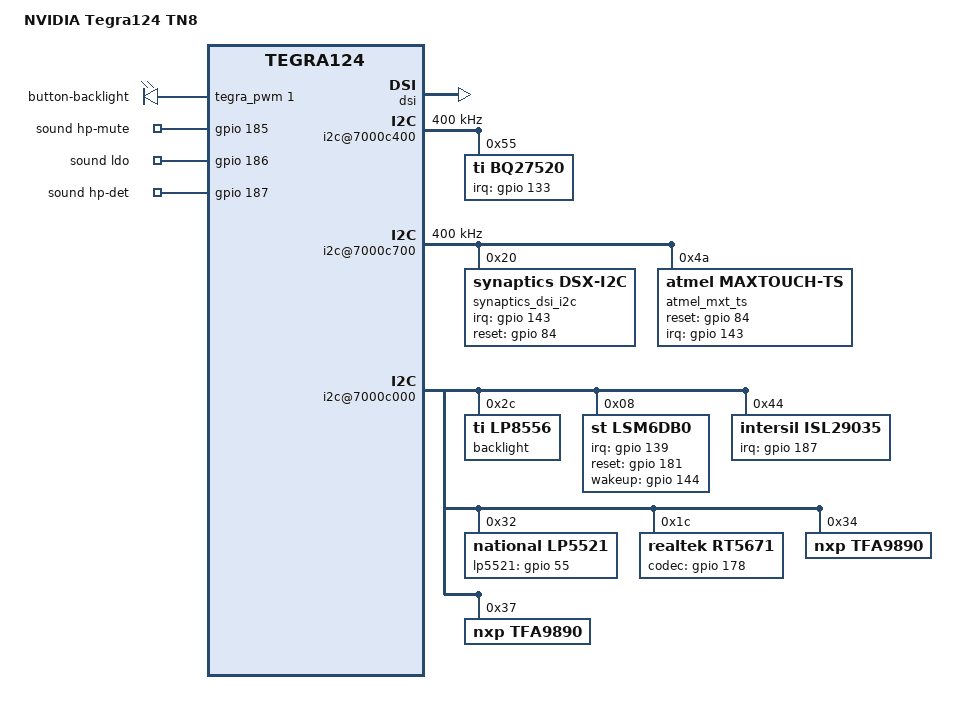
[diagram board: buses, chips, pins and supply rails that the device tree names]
/dts-v1/;

#include "tegra124-tn8.dtsi"
#include "tegra124-platforms/tegra124-tn8-emc-e1922-1100-a00.dtsi"
#include "tegra124-platforms/tegra124-tn8-pmic-e1736-1000-a00.dtsi"
#include "tegra124-platforms/tegra124-tn8-fixed-e1736-1000-a00.dtsi"

/* this is static dtsi files */
#include "tegra124-platforms/tegra124-mocha-gpio-e1780.dtsi"
#include "tegra124-platforms/tegra124-mocha-keys-e1780.dtsi"
#include "tegra124-platforms/tegra124-mocha-pinmux-e1780.dtsi"
/* end of static dtsi files */

#include "tegra124-platforms/tegra124-mocha-sysedp.dtsi"
/* 旧 nvc 相机 profile（camera-pcl），仅供 NVIDIA 旧框架参考，
 * 不会创建 I2C 设备；保留以免其它代码引用其符号。 */
#include "tegra124-platforms/tegra124-mocha-camera.dtsi"
/*
 * 【相机修复 2026-11-16】必须引入 mocha-camera-mc.dtsi：
 * 它在 i2c@7000c500（CAM I2C，adapter 2）上定义了真正的传感器设备节点
 *   imx179@10（"sony,imx179"，CSI-A 4-lane）、ov5693@36（"ovt,ov5693"）、
 *   ad5823@0c（"adi,ad5823"）以及 vi@54080000/csi@54080000 的 media 端点。
 * 之前没有 include 它 → i2c-2 上没有任何设备 → tegra_vi 驱动
 * "Found 0 sensors" → 回落到 TPG（棋盘格测试图案），相机永远出不了画面。
 * 注意：CONFIG_CPUSETS/CONFIG_BLK_CGROUP 才是 2026-11-16 卡米的元凶
 * （两轮实验均死在 init post-fs-data 之前），与本 DT 改动无关。
 */
#include "tegra124-platforms/tegra124-mocha-camera-mc.dtsi"
#include "panel-s-wqxga-7-9-x6.dtsi"

/ {
	model = "NVIDIA Tegra124 TN8";
	compatible = "nvidia,mocha", "nvidia,tegra124";
	nvidia,dtsfilename = __FILE__;
	nvidia,boardids = "1780:1100:3:A:7","1845:1000:0:A:7";
	#address-cells = <2>;
	#size-cells = <2>;

	chosen {
		bootargs = "tegraid=40.0.0.00.00 vmalloc=256M video=tegrafb console=ttyS0,115200n8 earlyprintk";
		linux,initrd-start = <0x85000000>;
		linux,initrd-end = <0x851bc400>;
	};

	firmware {
		android {
			compatible = "android,firmware";
			hardware = "tn8";
		};
	};

	host1x {
		/*
		 * 【相机修复 2026-11-16】soc.dtsi 里这个裸 `vi` 节点
		 * (compatible "nvidia,tegra124-vi") 同样命中 tegra_vi 驱动的
		 * 匹配表。若与 mocha-camera-mc.dtsi 引入的 vi@54080000
		 * (compatible "nvidia,mocha-vi") 同时存在，驱动会被探测两次，
		 * 第二个实例注册 /dev/video0 会冲突。必须禁用裸节点，
		 * 只让带时钟/CSI 端点/num-channels 的 vi@54080000 生效，
		 * 传感器(imx179/ov5693)才能通过 media 框架绑定到通道。
		 * 驱动侧时钟获取带 IS_ERR_OR_NULL 保护，不会探测卡死。
		 */
		vi {
			status = "disabled";
		};
		isp@54600000 { status = "okay"; };
		isp@54680000 { status = "okay"; };

		/* tegradc.0 */
		dc@54200000 {
			status = "okay";
			nvidia,dc-flags = <TEGRA_DC_FLAG_ENABLED>;
			nvidia,emc-clk-rate = <204000000>;
			nvidia,cmu-enable = <0>;
			nvidia,low-v-win = <0x2>;
			nvidia,fb-bpp = <32>; /* bits per pixel */
			nvidia,fb-flags = <TEGRA_FB_FLIP_ON_PROBE>;
		};
		dsi {
			nvidia,dsi-controller-vs = <DSI_VS_1>;
			status = "okay";
		};
	};

	i2c@7000c400 {
		status = "okay";
		clock-frequency = <400000>;

		bq27520@55 {
			compatible = "ti,bq27520";
			reg = <0x55>;

			interrupt-parent = <&gpio>;
			interrupts = <133 0>;
			ti,fw-lgc-name = "0105_lgc.dffs";
			ti,fw-atl-name = "0205_atl.dffs";
		};
	};

	i2c@7000c700 {
		nvidia,clock-always-on;
		clock-frequency = <400000>;

		synaptics_dsi_i2c@20 {
			compatible = "synaptics,dsx-i2c";
			reg = <0x20>;

			synaptics,x-flip = <0>;
			synaptics,y-flip = <0>;
			synaptics,swap-axes = <0>;
			synaptics,irq-gpio = <&gpio 143 0>;
			synaptics,irq-on-state = <0>;
			synaptics,power-on-state = <1>;
			synaptics,reset-gpio = <&gpio 84 0>;
			synaptics,reset-on-state = <0>;
			synaptics,irq-flags = <0x2008>;
			synaptics,fw-name = "synaptics_7040_firmware.fw";
			synaptics,self-test-name = "synaptics_7040_test_data.fw";
			synaptics,panel-x = <1536>;
			synaptics,panel-y = <2048>;
			synaptics,power-delay-ms = <160>;
			synaptics,reset-delay-ms = <100>;
			synaptics,reset-active-ms = <20>;
			synaptics,byte-delay-us = <20>;
			synaptics,block-delay-us = <20>;
			synaptics,regulator-name = "vdd-touch";
			synaptics,cap-button-map = <139 102 158 116>;
		};

		atmel_mxt_ts@4a {
			compatible = "atmel,maxtouch-ts";
			reg = <0x4a>;

			interrupt-parent = <&gpio>;
			interrupts = <143 0x2>;
			atmel,irq-flags = <0x2008>;
			atmel,reset-gpio = <&gpio 84 0>;
			atmel,irq-gpio = <&gpio 143 0>;
			atmel,gpio-mask = <0xc>;
			atmel,vendor-info = <0x03eb>;
			atmel,product-info = <0x214f>;
			atmel,config-array-size = <2>;

			atmel,cfg_1 {
				atmel,family-id = <0xA4>;
				atmel,variant-id = <0x04>;
				atmel,version = <0x10>;
				atmel,build = <0xAA>;
				atmel,bootldr-id = <0x48>;
				atmel,mxt-cfg-name = "mxt1664t_config.fw";
				atmel,vendor-id = <0x4>;
				atmel,mxt-fw-name = "mxt1664t.fw";
				atmel,key-codes = <158 102 139 116>;
			};
			atmel,cfg_2 {
				atmel,family-id = <0xA4>;
				atmel,variant-id = <0x0B>;
				atmel,version = <0x12>;
				atmel,build = <0xAC>;
				atmel,bootldr-id = <0x51>;
				atmel,mxt-cfg-name = "mxt1066t_config.fw";
				atmel,vendor-id = <0x4>;
				atmel,mxt-fw-name = "mxt1066t.fw";
				atmel,key-codes = <139 102 158 116>;
			};
		};
	};

	i2c@7000c000 {
		backlight@2c {
			compatible = "ti,lp8556";
			reg = <0x2c>;

			dev-ctrl = /bits/ 8 <0x83>;
			init-brt = /bits/ 8 <0x1f>;
			led-en   = /bits/ 8 <0x0f>;

			rom_98h {
				rom-addr = /bits/ 8 <0x98>;
				rom-val = /bits/ 8 <0x80>;
			};
			rom_9eh {
				rom-addr = /bits/ 8 <0x9e>;
				rom-val = /bits/ 8 <0x21>;
			};
			rom_a0h {
				rom-addr = /bits/ 8 <0xa0>;
				rom-val = /bits/ 8 <0xff>;
			};
			rom_a1h {
				rom-addr = /bits/ 8 <0xa1>;
				rom-val = /bits/ 8 <0x3f>;
			};
			rom_a2h {
				rom-addr = /bits/ 8 <0xa2>;
				rom-val = /bits/ 8 <0x20>;
			};
			rom_a3h {
				rom-addr = /bits/ 8 <0xa3>;
				rom-val = /bits/ 8 <0x00>;
			};
			rom_a4h {
				rom-addr = /bits/ 8 <0xa4>;
				rom-val = /bits/ 8 <0x72>;
			};
			rom_a5h {
				rom-addr = /bits/ 8 <0xa5>;
				rom-val = /bits/ 8 <0x24>;
			};
			rom_a6h {
				rom-addr = /bits/ 8 <0xa6>;
				rom-val = /bits/ 8 <0x80>;
			};
			rom_a7h {
				rom-addr = /bits/ 8 <0xa7>;
				rom-val = /bits/ 8 <0xf5>;
			};
			rom_a8h {
				rom-addr = /bits/ 8 <0xa8>;
				rom-val = /bits/ 8 <0x24>;
			};
			rom_a9h {
				rom-addr = /bits/ 8 <0xa9>;
				rom-val = /bits/ 8 <0xb2>;
			};
			rom_aah {
				rom-addr = /bits/ 8 <0xaa>;
				rom-val = /bits/ 8 <0x8f>;
			};
			rom_aeh {
				rom-addr = /bits/ 8 <0xae>;
				rom-val = /bits/ 8 <0x0f>;
			};
		};

		lsm6db0@08 {
			compatible = "st,lsm6db0";
			reg = <0x08>;

			st,irq-gpio = <&gpio 139 0x00>;
			st,reset-gpio = <&gpio 181 0x00>;
			st,wakeup-gpio = <&gpio 144 0x00>;
		};

		isl29035@44 {
			compatible = "intersil,isl29035";
			reg = <0x44>;
			interrupt-parent = <&gpio>;
			interrupts = <187 0x08>;

			als_factor = <16>;
			als_highrange = <2>;
			als_lowthres = <0x0e00>;
			als_highthres = <0xf800>;
			als_sensitive = <25>;
		};

		lp5521@32 {
			compatible = "national,lp5521";
			reg = <0x32>;
			lp5521,clock-mode = <0>;
			lp5521,gpio = <&gpio 55 0>;
			lp5521,num-channels = <3>;

			lp5521,config_1 {
				lp5521,name = "red";
				lp5521,chan-nr = <0>;
				lp5521,led-current = <20>;
				lp5521,max-current = <255>;
			};
			lp5521,config_2 {
				lp5521,name = "green";
				lp5521,chan-nr = <1>;
				lp5521,led-current = <20>;
				lp5521,max-current = <255>;
			};
			lp5521,config_3 {
				lp5521,name = "blue";
				lp5521,chan-nr = <2>;
				lp5521,led-current = <20>;
				lp5521,max-current = <255>;
			};
		};

		rt5671@1c {
			compatible = "realtek,rt5671";
			reg = <0x1c>;

	                realtek,jd_mode = <2>;
	                realtek,codec_gpio = <&gpio 178 0>;
	                realtek,in2_diff = <1>;
	                realtek,in3_diff = <0>;
	                realtek,in4_diff = <1>;
	                realtek,bclk_32fs = <0 1 1 1>;
		};

		tfa9890@34 {
			compatible = "nxp,tfa9890";
			reg = <0x34>;
		};

		tfa9890@37 {
			compatible = "nxp,tfa9890";
			reg = <0x37>;
		};

	};
	
	tegra_pwm: pwm@7000a000 {
		clocks = <&tegra_car 17>;
	};
	
	pwmleds {
		compatible = "pwm-leds";
		button_led {
			label = "button-backlight";
			pwms = <&tegra_pwm 1 10000>;
			max-brightness = <100>;
			max-duty = <50>;
		};
	};

	sound {
		compatible = "nvidia,tegra-audio-rt5671";
		nvidia,hp-mute-gpios = <&gpio 185 0>;
		nvidia,ldo-gpios = <&gpio 186 0>;
		nvidia,hp-det-gpios = <&gpio 187 0>;
		nvidia,i2s-param-hifi = <0 0 2 16 2 48000>;
	};
};

